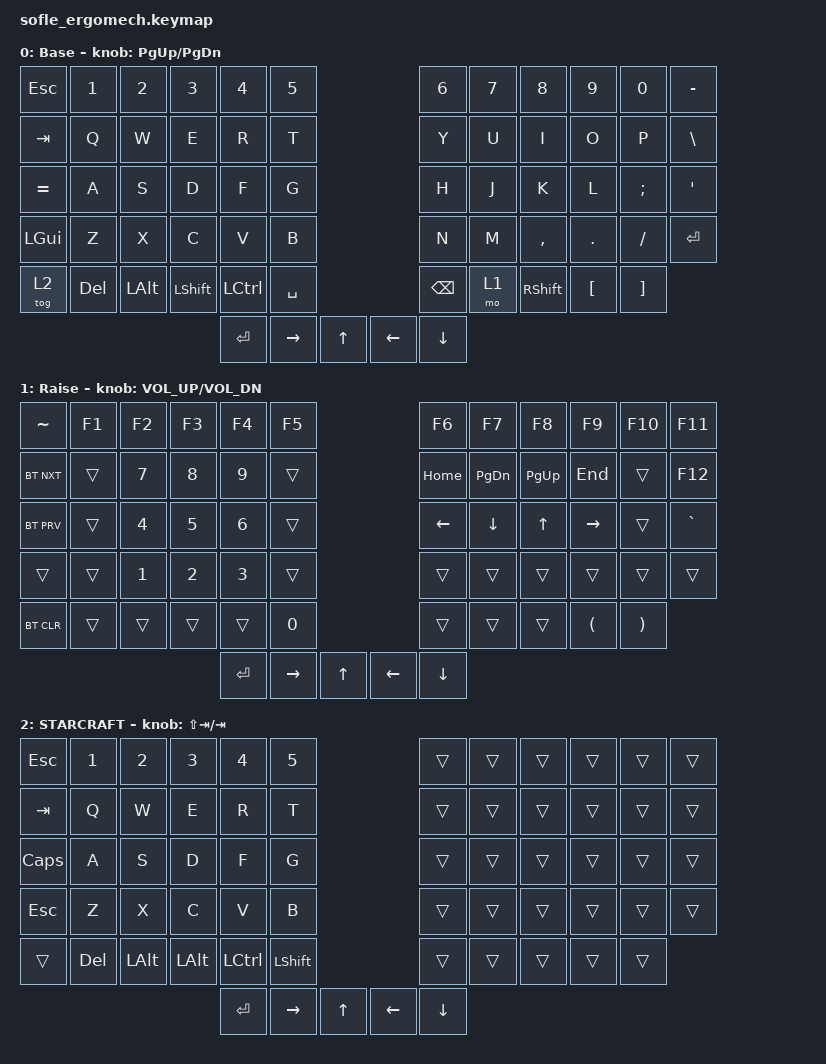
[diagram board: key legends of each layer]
/*
 * Copyright (c) 2020 The ZMK Contributors
 *
 * SPDX-License-Identifier: MIT
 */

#include <behaviors.dtsi>
#include <dt-bindings/zmk/bt.h>
#include <dt-bindings/zmk/ext_power.h>
#include <dt-bindings/zmk/keys.h>
#include <dt-bindings/zmk/rgb.h>

#define BASE 0
#define RAISE 1
#define STARCRAFT 2

/ {
    // Activate ADJUST layer by pressing raise and lower

    conditional_layers {
        compatible = "zmk,conditional-layers";


    };

    keymap {
        compatible = "zmk,keymap";

        default_layer {
            label = "Base";
            display-name = "Base";

            // ------------------------------------------------------------------------------------------------------------
            // |   `   |  1  |  2  |  3   |  4   |  5   |                   |  6   |  7    |  8    |  9   |   0   |       |
            // |  ESC  |  Q  |  W  |  E   |  R   |  T   |                   |  Y   |  U    |  I    |  O   |   P   | BKSPC |
            // |  TAB  |  A  |  S  |  D   |  F   |  G   |                   |  H   |  J    |  K    |  L   |   ;   |   '   |
            // | SHIFT |  Z  |  X  |  C   |  V   |  B   |  MUTE  |  |       |  N   |  M    |  ,    |  .   |   /   | SHIFT |
            //               | GUI | ALT  | CTRL | LOWER|  ENTER |  | SPACE | RAISE| CTRL  | ALT   | GUI  |

            bindings = <
&kp ESCAPE    &kp N1      &kp N2          &kp N3       &kp N4       &kp N5                               &kp N6         &kp N7       &kp N8       &kp N9      &kp N0         &kp MINUS
&kp TAB       &kp Q       &kp W           &kp E        &kp R        &kp T                                &kp Y          &kp U        &kp I        &kp O       &kp P          &kp BSLH
&kp EQUAL     &kp A       &kp S           &kp D        &kp F        &kp G                                &kp H          &kp J        &kp K        &kp L       &kp SEMI       &kp SQT
&kp LEFT_GUI  &kp Z       &kp X           &kp C        &kp V        &kp B                                &kp N          &kp M        &kp COMMA    &kp DOT     &kp FSLH       &kp ENTER
&tog 2        &kp DELETE  &kp LALT        &kp LSHFT    &kp LCTRL    &kp SPACE                            &kp BACKSPACE  &mo 1        &kp RSHFT    &kp LBKT    &kp RBKT
                                                        &kp ENTER  &kp RIGHT  &kp UP_ARROW  &kp LEFT  &kp DOWN
            >;

            sensor-bindings = <&inc_dec_kp PAGE_UP PAGE_DOWN>;
        };

        raise_layer {
            label = "Raise";
            display-name = "Raise";

            // ------------------------------------------------------------------------------------------------------------
            // | BTCLR | BT1  | BT2  |  BT3  |  BT4  |  BT5 |                |      |      |       |      |       |       |
            // |       | INS  | PSCR | GUI   |       |      |                | PGUP |      |   ^   |      |       |       |
            // |       | ALT  | CTRL | SHIFT |       | CAPS |                | PGDN |   <- |   v   |  ->  |  DEL  | BKSPC |
            // |       | UNDO | CUT  | COPY  | PASTE |      |      |  |      |      |      |       |      |       |       |
            //                |      |       |       |      |      |  |      |      |      |       |      |

            bindings = <
&kp TILDE   &kp F1  &kp F2  &kp F3  &kp F4  &kp F5                                         &kp F6          &kp F7          &kp F8        &kp F9               &kp F10               &kp F11
&bt BT_NXT  &trans  &kp N7  &kp N8  &kp N9  &trans                                         &kp HOME        &kp PAGE_DOWN   &kp PG_UP     &kp END              &trans                &kp F12
&bt BT_PRV  &trans  &kp N4  &kp N5  &kp N6  &trans                                         &kp LEFT_ARROW  &kp DOWN_ARROW  &kp UP_ARROW  &kp RIGHT_ARROW      &trans                &kp GRAVE
&trans      &trans  &kp N1  &kp N2  &kp N3  &trans                                         &trans          &trans          &trans        &trans               &trans                &trans
&bt BT_CLR  &trans  &trans  &trans  &trans  &kp N0                                         &trans          &trans          &trans        &kp LEFT_PARENTHESIS &kp RIGHT_PARENTHESIS
                                                    &kp ENTER  &kp RIGHT  &kp UP_ARROW  &kp LEFT  &kp DOWN
            >;

            sensor-bindings = <&inc_dec_kp C_VOL_UP C_VOL_DN>;
        };

        starcraft {
            label = "Starcraft";
            display-name = "STARCRAFT";
            bindings = <
&kp ESCAPE  &kp N1      &kp N2      &kp N3     &kp N4     &kp N5                          &trans  &trans  &trans  &trans  &trans  &trans
&kp TAB     &kp Q       &kp W       &kp E      &kp R      &kp T                           &trans  &trans  &trans  &trans  &trans  &trans
&kp CAPS    &kp A       &kp S       &kp D      &kp F      &kp G                           &trans  &trans  &trans  &trans  &trans  &trans
&kp ESCAPE  &kp Z       &kp X       &kp C      &kp V      &kp B                           &trans  &trans  &trans  &trans  &trans  &trans
&trans      &kp DELETE  &kp LALT    &kp LALT   &kp LCTRL  &kp LSHFT                       &trans  &trans  &trans  &trans  &trans
                                                    &kp ENTER  &kp RIGHT  &kp UP_ARROW  &kp LEFT  &kp DOWN
            >;

            sensor-bindings = <&inc_dec_kp LS(TAB) TAB>;

        };
    };
};
